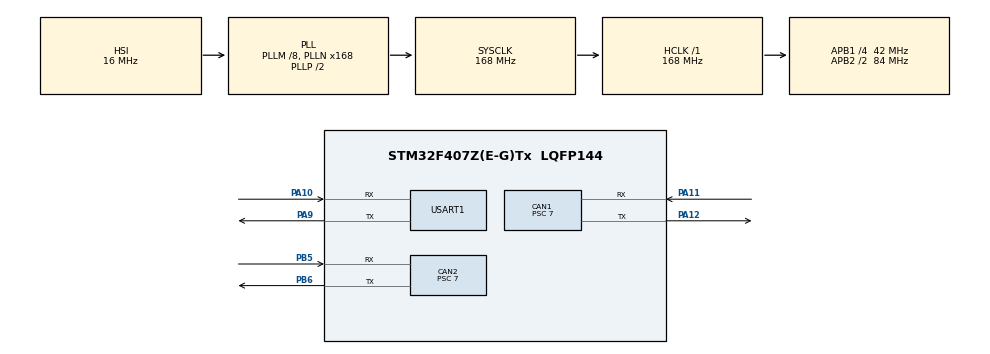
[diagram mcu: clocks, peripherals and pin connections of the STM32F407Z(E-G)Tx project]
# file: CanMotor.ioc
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CAN1.ABOM=ENABLE
CAN1.BS1=CAN_BS1_2TQ
CAN1.BS2=CAN_BS2_3TQ
CAN1.CalculateTimeQuantum=166.66666666666669
CAN1.Prescaler=7
CAN1.RFLM=DISABLE
CAN1.TXFP=DISABLE
CAN2.ABOM=ENABLE
CAN2.BS1=CAN_BS1_2TQ
CAN2.BS2=CAN_BS2_3TQ
CAN2.CalculateTimeQuantum=166.66666666666669
CAN2.Prescaler=7
CAN2.RFLM=DISABLE
CAN2.TXFP=DISABLE
Mcu.Family=STM32F4
Mcu.Name=STM32F407Z(E-G)Tx
Mcu.Package=LQFP144
NVIC.CAN1_RX0_IRQn=true\:1\:0\:true\:false\:true\:true\:true
NVIC.CAN2_RX0_IRQn=true\:0\:0\:false\:false\:true\:true\:true
NVIC.PriorityGroup=NVIC_PRIORITYGROUP_4
PA10.Mode=Asynchronous
PA10.Signal=USART1_RX
PA11.GPIO_PuPd=GPIO_PULLUP
PA11.Mode=Master
PA11.Signal=CAN1_RX
PA12.GPIO_PuPd=GPIO_PULLUP
PA12.Mode=Master
PA12.Signal=CAN1_TX
PA13.Mode=Serial_Wire
PA13.Signal=SYS_JTMS-SWDIO
PA14.Mode=Serial_Wire
PA14.Signal=SYS_JTCK-SWCLK
PA9.Mode=Asynchronous
PA9.Signal=USART1_TX
PB5.GPIO_PuPd=GPIO_PULLUP
PB5.Mode=Slave
PB5.Signal=CAN2_RX
PB6.GPIO_PuPd=GPIO_PULLUP
PB6.Mode=Slave
PB6.Signal=CAN2_TX
PC14-OSC32_IN.Mode=LSE-External-Oscillator
PC14-OSC32_IN.Signal=RCC_OSC32_IN
PC15-OSC32_OUT.Mode=LSE-External-Oscillator
PC15-OSC32_OUT.Signal=RCC_OSC32_OUT
PH0-OSC_IN.Mode=HSE-External-Oscillator
PH0-OSC_IN.Signal=RCC_OSC_IN
PH1-OSC_OUT.Mode=HSE-External-Oscillator
PH1-OSC_OUT.Signal=RCC_OSC_OUT
ProjectManager.HeapSize=0x200
ProjectManager.StackSize=0x400
ProjectManager.TargetToolchain=STM32CubeIDE
RCC.48MHZClocksFreq_Value=84000000
RCC.AHBFreq_Value=168000000
RCC.APB1CLKDivider=RCC_HCLK_DIV4
RCC.APB1Freq_Value=42000000
RCC.APB1TimFreq_Value=84000000
RCC.APB2CLKDivider=RCC_HCLK_DIV2
RCC.APB2Freq_Value=84000000
RCC.APB2TimFreq_Value=168000000
RCC.CortexFreq_Value=168000000
RCC.HCLKFreq_Value=168000000
RCC.HSE_VALUE=12288000
RCC.HSI_VALUE=16000000
RCC.PLLM=8
RCC.PLLN=168
RCC.SYSCLKFreq_VALUE=168000000
RCC.SYSCLKSource=RCC_SYSCLKSOURCE_PLLCLK
RCC.VCOOutputFreq_Value=336000000
USART1.VirtualMode=VM_ASYNC
board=custom

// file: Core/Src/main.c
/* USER CODE BEGIN Header */
/**
  ******************************************************************************
  * @file           : main.c
  * @brief          : Main program body
  ******************************************************************************
  * @attention
  *
  * <h2><center>&copy; Copyright (c) 2023 STMicroelectronics.
  * All rights reserved.</center></h2>
  *
  * This software component is licensed by ST under BSD 3-Clause license,
  * the "License"; You may not use this file except in compliance with the
  * License. You may obtain a copy of the License at:
  *                        opensource.org/licenses/BSD-3-Clause
  *
  ******************************************************************************
  */
/* USER CODE END Header */
#include "main.h"
#include "can.h"
#include "usart.h"
#include "gpio.h"

/* USER CODE BEGIN Includes */
#include "CanMotor.h"
#include "PidControl.h"
#include "PidPosition.h"
#include "PidSpeed.h"
/* USER CODE END Includes */

/* USER CODE BEGIN PD */
#define PI 3.1415926535
/* USER CODE END PD */

/* USER CODE BEGIN PM */
uint16_t Target_add_speed = 30;//位置环与速度环串级速度
float now_yaw_angle;
char tx_buf[100];
extern moto_info_t motor_yaw_info;
extern pid_struct_t gimbal_yaw_speed_pid;
extern pid_struct_t gimbal_yaw_angle_pid;
extern int angle,last_angle,total_cnt,first_angle;
extern int total_angle;//转换为增量式编码器的编码器值

/* USER CODE END PM */

void SystemClock_Config(void);

int main(void)
{

  /* MCU Configuration--------------------------------------------------------*/

  /* Reset of all peripherals, Initializes the Flash interface and the Systick. */
  HAL_Init();

  /* Configure the system clock */
  SystemClock_Config();

  /* Initialize all configured peripherals */
  MX_GPIO_Init();
  MX_CAN1_Init();
  MX_CAN2_Init();
  MX_USART1_UART_Init();
  /* USER CODE BEGIN 2 */
  CANMOTOR_Init();
  gimbal_PID_init();
  PidSpeed_Init();
  PidPosition_Init();
  /* USER CODE END 2 */

  /* Infinite loop */
  /* USER CODE BEGIN WHILE */
  while (1)
  {
      //sprintf(tx_buf,"%d\r\n",total_angle);
      //HAL_UART_Transmit(&huart1,(uint8_t *)tx_buf,10,0xffff);

      /*
       * 单位置环调试
       */
/*
      PidPosition_PwmGet();
      set_GM6020_motor_voltage(&hcan1,gimbal_yaw_angle_pid.output);
      HAL_Delay(5);
      */
      /*
       * 单速度环调试
       */
    /*
      pid_calc(&gimbal_yaw_speed_pid,target_yaw_speed, motor_yaw_info.rotor_speed);//閫熷害鐜?
      set_GM6020_motor_voltage(&hcan1,gimbal_yaw_speed_pid.output);
      HAL_Delay(5);
    */
      /*
       * 两个环串级调试
       */

      PidPosition_PwmGet();
      gimbal_yaw_angle_pid.output = Pwm_Change(gimbal_yaw_angle_pid.output);//瀵硅搴︾幆杩涜闄愬箙
      set_GM6020_motor_voltage(&hcan1,gimbal_yaw_angle_pid.output);
      HAL_Delay(5);

    /* USER CODE END WHILE */

  }
}

void SystemClock_Config(void)
{
  RCC_OscInitTypeDef RCC_OscInitStruct = {0};
  RCC_ClkInitTypeDef RCC_ClkInitStruct = {0};

  /** Configure the main internal regulator output voltage
  */
  __HAL_RCC_PWR_CLK_ENABLE();
  __HAL_PWR_VOLTAGESCALING_CONFIG(PWR_REGULATOR_VOLTAGE_SCALE1);
  /** Initializes the RCC Oscillators according to the specified parameters
  * in the RCC_OscInitTypeDef structure.
  */
  RCC_OscInitStruct.OscillatorType = RCC_OSCILLATORTYPE_HSI;
  RCC_OscInitStruct.HSIState = RCC_HSI_ON;
  RCC_OscInitStruct.HSICalibrationValue = RCC_HSICALIBRATION_DEFAULT;
  RCC_OscInitStruct.PLL.PLLState = RCC_PLL_ON;
  RCC_OscInitStruct.PLL.PLLSource = RCC_PLLSOURCE_HSI;
  RCC_OscInitStruct.PLL.PLLM = 8;
  RCC_OscInitStruct.PLL.PLLN = 168;
  RCC_OscInitStruct.PLL.PLLP = RCC_PLLP_DIV2;
  RCC_OscInitStruct.PLL.PLLQ = 4;
  if (HAL_RCC_OscConfig(&RCC_OscInitStruct) != HAL_OK)
  {
    Error_Handler();
  }
  /** Initializes the CPU, AHB and APB buses clocks
  */
  RCC_ClkInitStruct.ClockType = RCC_CLOCKTYPE_HCLK|RCC_CLOCKTYPE_SYSCLK
                              |RCC_CLOCKTYPE_PCLK1|RCC_CLOCKTYPE_PCLK2;
  RCC_ClkInitStruct.SYSCLKSource = RCC_SYSCLKSOURCE_PLLCLK;
  RCC_ClkInitStruct.AHBCLKDivider = RCC_SYSCLK_DIV1;
  RCC_ClkInitStruct.APB1CLKDivider = RCC_HCLK_DIV4;
  RCC_ClkInitStruct.APB2CLKDivider = RCC_HCLK_DIV2;

  if (HAL_RCC_ClockConfig(&RCC_ClkInitStruct, FLASH_LATENCY_5) != HAL_OK)
  {
    Error_Handler();
  }
}

void Error_Handler(void)
{
}

/************************ (C) COPYRIGHT STMicroelectronics *****END OF FILE****/
